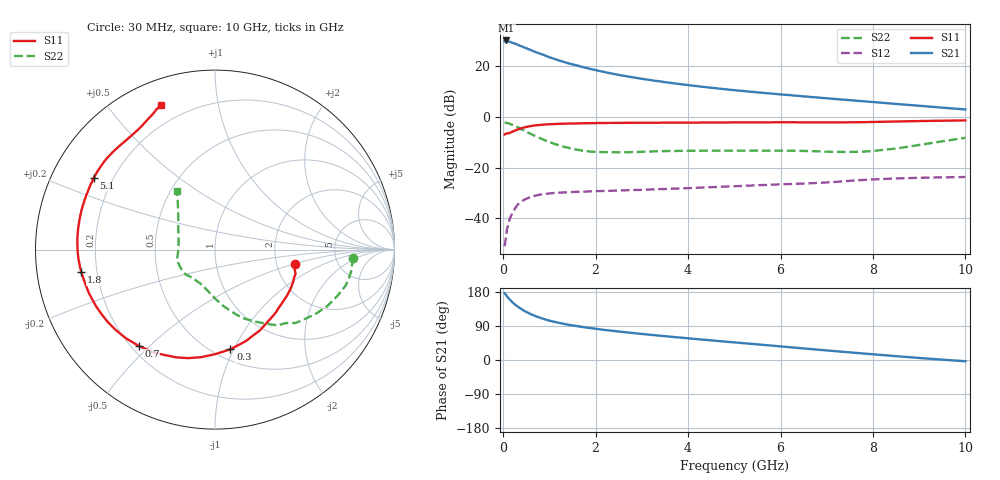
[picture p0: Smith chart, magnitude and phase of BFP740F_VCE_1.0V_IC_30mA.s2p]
! Infineon Technologies  Discrete & RF Semiconductors
! BFP740F
! VCE =  1.0 V,  IC =  30 mA
! Common Emitter S-Parameters:  Oct 2012
# GHz  S  MA  R  50
!  f  S11  S21  S12  S22
! GHz  MAG  ANG  MAG  ANG  MAG  ANG  MAG  ANG
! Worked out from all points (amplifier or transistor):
!   99 points, 30 MHz to 10 GHz, reference 50 ohm
!   highest |S21| = 30.3 dB at 70 MHz (marker M1)
!   |S21| within 3 dB of that: start of sweep to 488.5 MHz
!   unconditionally stable (mu >= 1): start of sweep to 73.42 MHz; 3.289 GHz to end of sweep
!   at 350 MHz: K = 0.38, MSG = 31.1 dB, |S12| = -34.0 dB
!   at 3.5 GHz: K = 1.04, MAG = 19.9 dB, |S12| = -28.5 dB
!   at 10 GHz: K = 1.52, MAG = 9.1 dB, |S12| = -23.7 dB
!   S11 on the Smith chart (normalised r, x): 30 MHz: 2.53, -0.52; 300 MHz: 0.60, -0.97; 700 MHz: 0.23, -0.46; 1.8 GHz: 0.14, -0.08; 5.1 GHz: 0.13, +0.27; 10 GHz: 0.11, +0.69
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0.03  0.4529 -10.4  31.53 176.1  0.0028 54.5  0.7676 -3.4
0.04  0.4562 -13.7  31.76 174.9  0.0032 58.4  0.7687 -5.0
0.05  0.4683 -16.6  32.69 173.5  0.0037 59.2  0.7682 -6.5
0.07  0.4717 -23.4  32.7 169.9  0.0047 71.5  0.768 -9.4
0.1  0.4763 -33.3  31.82 165.0  0.0068 69.8  0.7576 -14.0
0.2  0.5144 -60.7  29.36 152.1  0.0131 61.9  0.7002 -26.8
0.3  0.5621 -81.2  27.28 142.1  0.0179 55.7  0.6361 -37.1
0.35  0.5822 -89.8  25.81 137.8  0.02 52.6  0.6077 -42.3
0.45  0.6223 -103.7  23.89 130.0  0.0231 47.0  0.5494 -50.2
0.6  0.6654 -120.0  21.05 120.8  0.0265 40.1  0.4616 -60.5
0.7  0.6843 -128.3  19.27 115.8  0.0281 36.6  0.4197 -66.6
0.9  0.7115 -141.0  16.54 107.3  0.0302 31.2  0.3472 -76.4
1.1  0.7276 -150.6  14.21 100.8  0.0315 27.9  0.296 -85.0
1.4  0.7431 -161.0  11.6 93.3  0.0326 25.1  0.2478 -96.0
1.7  0.7521 -168.5  9.832 87.4  0.0335 23.5  0.2176 -106.0
1.8  0.7556 -170.6  9.349 85.7  0.0337 23.2  0.2121 -109.3
2.5  0.7674 177.9  6.817 75.2  0.0352 22.6  0.201 -126.4
3.4  0.7732 166.8  5.056 64.0  0.0377 23.6  0.2113 -137.4
5.1  0.7848 149.5  3.325 45.4  0.0432 25.8  0.2168 -152.1
6.7  0.786 134.2  2.469 28.4  0.0493 26.9  0.2114 -170.9
8.5  0.817 117.2  1.817 10.1  0.0611 23.1  0.2389 148.7
10  0.8585 110.5  1.415 -3.3  0.0652 17.7  0.3891 122.9
